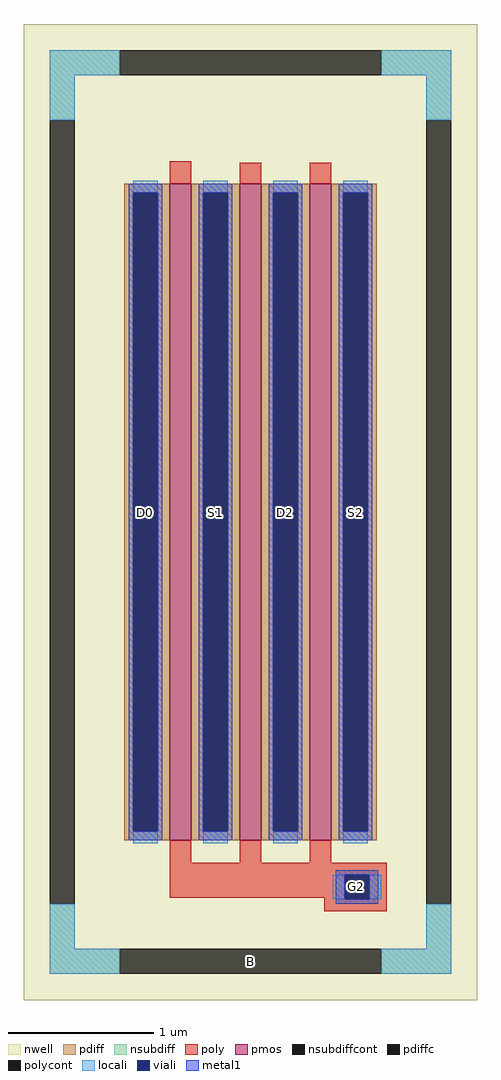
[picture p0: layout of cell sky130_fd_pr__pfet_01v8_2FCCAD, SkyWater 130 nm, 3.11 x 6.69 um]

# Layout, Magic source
magic
tech sky130A
magscale 1 2
<< nwell >>
rect -311 -669 311 669
<< pmos >>
rect -111 -450 -81 450
rect -15 -450 15 450
rect 81 -450 111 450
<< pdiff >>
rect -173 438 -111 450
rect -173 -438 -161 438
rect -127 -438 -111 438
rect -173 -450 -111 -438
rect -81 438 -15 450
rect -81 -438 -65 438
rect -31 -438 -15 438
rect -81 -450 -15 -438
rect 15 438 81 450
rect 15 -438 31 438
rect 65 -438 81 438
rect 15 -450 81 -438
rect 111 438 173 450
rect 111 -438 127 438
rect 161 -438 173 438
rect 111 -450 173 -438
<< pdiffc >>
rect -161 -438 -127 438
rect -65 -438 -31 438
rect 31 -438 65 438
rect 127 -438 161 438
<< nsubdiff >>
rect -275 599 -179 633
rect 179 599 275 633
rect -275 537 -241 599
rect 241 537 275 599
rect -275 -599 -241 -537
rect 241 -599 275 -537
rect -275 -633 -179 -599
rect 179 -633 275 -599
<< nsubdiffcont >>
rect -179 599 179 633
rect -275 -537 -241 537
rect 241 -537 275 537
rect -179 -633 179 -599
<< poly >>
rect -111 450 -81 481
rect -15 450 15 479
rect 81 450 111 479
rect -111 -481 -81 -450
rect -15 -481 15 -450
rect 81 -481 111 -450
rect -111 -497 187 -481
rect -111 -529 129 -497
rect 101 -531 129 -529
rect 163 -531 187 -497
rect 101 -547 187 -531
<< polycont >>
rect 129 -531 163 -497
<< locali >>
rect -275 599 -179 633
rect 179 599 275 633
rect -275 537 -241 599
rect 241 537 275 599
rect -161 438 -127 454
rect -161 -454 -127 -438
rect -65 438 -31 454
rect -65 -454 -31 -438
rect 31 438 65 454
rect 31 -454 65 -438
rect 127 438 161 454
rect 127 -454 161 -438
rect 113 -531 129 -497
rect 163 -531 179 -497
rect -275 -599 -241 -537
rect 241 -599 275 -537
rect -275 -633 -179 -599
rect 179 -633 275 -599
<< viali >>
rect -161 -438 -127 438
rect -65 -438 -31 438
rect 31 -438 65 438
rect 127 -438 161 438
rect 129 -531 163 -497
<< metal1 >>
rect -167 438 -121 450
rect -167 -438 -161 438
rect -127 -438 -121 438
rect -167 -450 -121 -438
rect -71 438 -25 450
rect -71 -438 -65 438
rect -31 -438 -25 438
rect -71 -450 -25 -438
rect 25 438 71 450
rect 25 -438 31 438
rect 65 -438 71 438
rect 25 -450 71 -438
rect 121 438 167 450
rect 121 -438 127 438
rect 161 -438 167 438
rect 121 -450 167 -438
rect 117 -497 175 -491
rect 117 -531 129 -497
rect 163 -531 175 -497
rect 117 -537 175 -531
<< labels >>
rlabel nsubdiffcont 0 -616 0 -616 0 B
port 1 nsew
rlabel pdiffc -144 0 -144 0 0 D0
port 2 nsew
rlabel pdiffc -48 0 -48 0 0 S1
port 4 nsew
rlabel pdiffc 48 0 48 0 0 D2
port 6 nsew
rlabel pdiffc 144 0 144 0 0 S2
port 7 nsew
rlabel polycont 146 -514 146 -514 0 G2
port 8 nsew
<< properties >>
string FIXED_BBOX -258 -616 258 616
string gencell sky130_fd_pr__pfet_01v8
string library sky130
string parameters w 4.5 l 0.15 m 1 nf 3 diffcov 100 polycov 100 guard 1 glc 1 grc 1 gtc 1 gbc 1 tbcov 100 rlcov 100 topc 1 botc 1 poverlap 0 doverlap 1 lmin 0.15 wmin 0.42 class mosfet compatible {sky130_fd_pr__pfet_01v8  sky130_fd_pr__pfet_01v8_lvt sky130_fd_pr__pfet_01v8_hvt  sky130_fd_pr__pfet_g5v0d10v5} full_metal 1 conn_gates 0 viasrc 100 viadrn 100 viagate 100 viagb 0 viagr 0 viagl 0 viagt 0 doports 1
<< end >>
